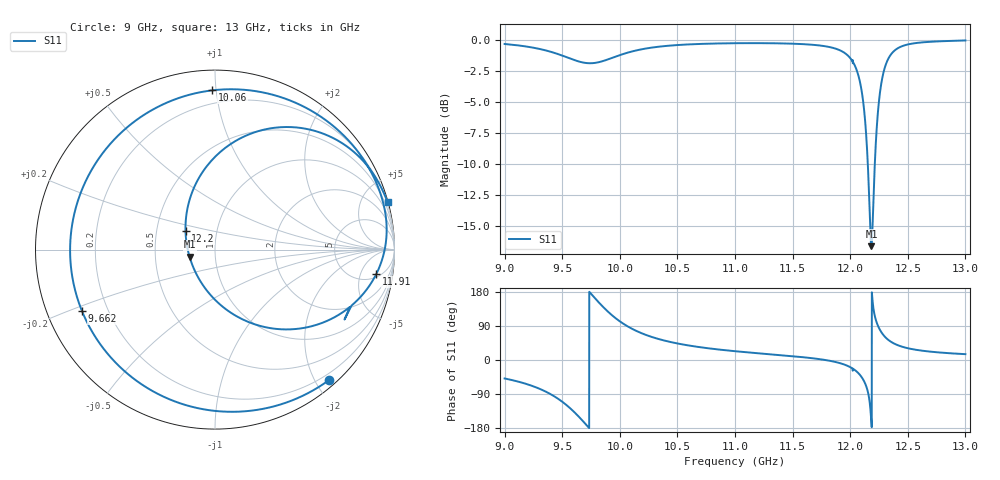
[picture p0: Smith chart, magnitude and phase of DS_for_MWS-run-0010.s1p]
! TOUCHSTONE file generated by CST DESIGN STUDIO
! Date and time: Tue Feb  4 16:15:31 2025
! Project name: C:\Work\MatlabApps\UnitCellOptimizationMatlab\CST\unitcell.cst
! Tree item: Tasks\Sweep1\SPara1\S-Parameters
! Header version: 2024
! Port assignment regex: !\s*Touchstone port\s*([0-9]+)\s*=\s*(CST MWS port|CST DES external port|CST DES block port)\s*(.+)\s* \(\"(.*)\"\)(\s*mode\s*([0-9]+))?.*
! Touchstone port assignment:
! Touchstone port 1 = CST DES external port 1 ("")
# GHz S MA R 50
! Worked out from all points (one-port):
!   4001 points, 9 GHz to 13 GHz, reference 50 ohm
!   lowest |S11| = -16.6 dB at 12.18 GHz (marker M1), VSWR 1.35, Z = 37.5 - j3.04 ohm
!   |S11| at or under -10 dB: 12.15286 GHz to 12.21361 GHz (60.75 MHz wide, 0.499 % of centre)
!   S11 on the Smith chart (normalised r, x): 9 GHz: 0.10, -2.20; 9.662 GHz: 0.11, -0.22; 10.06 GHz: 0.12, +0.98; 11.91 GHz: 6, -9; 12.2 GHz: 0.70, +0.15; 13 GHz: 0.06, +7.40
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9  0.9657 -48.7
9.267  0.9296 -71.5
9.399  0.8985 -90.1
9.5  0.867 -110.1
9.581  0.8393 -130.6
9.662  0.8164 -155.3
9.732  0.8074 -179.0
9.801  0.8122 157.4
9.9  0.8376 126.8
10  0.8705 102.1
10.056  0.8874 90.9
10.255  0.9304 63.1
10.5  0.9561 43.7
11  0.9725 23.2
11.5  0.9682 10.0
11.914  0.9091 -8.6
12  0.8472 -18.8
12.064  0.739 -32.6
12.118  0.5376 -54.6
12.151  0.3296 -80.9
12.171  0.1907 -116.3
12.184  0.1473 -164.4
12.197  0.1945 147.7
12.242  0.5206 89.6
12.286  0.731 66.8
12.373  0.8975 44.7
12.5  0.9613 31.1
13  0.9978 15.4
